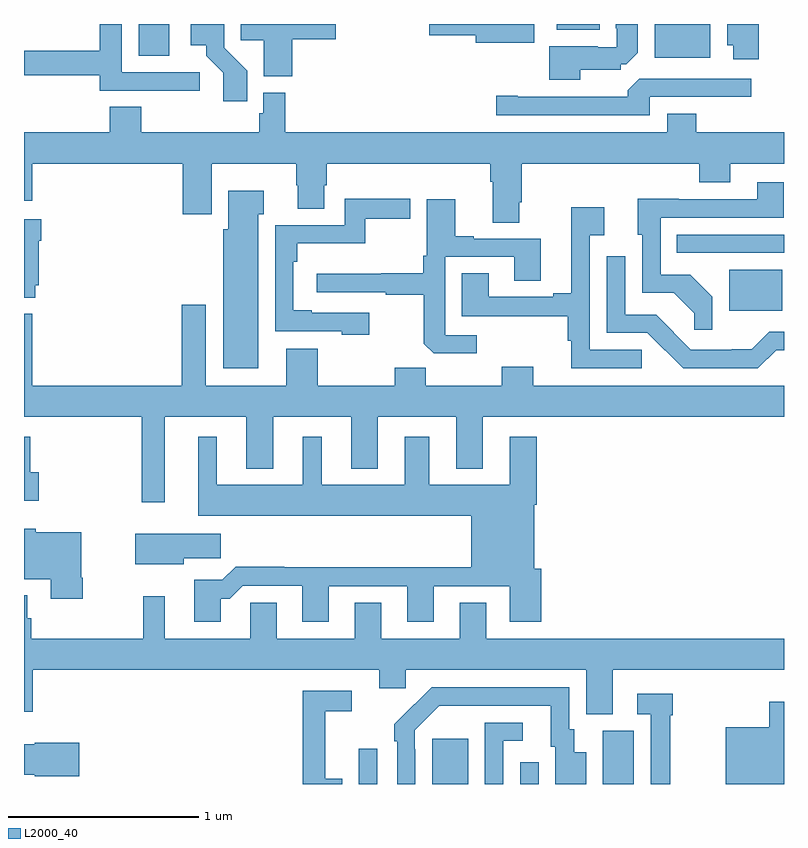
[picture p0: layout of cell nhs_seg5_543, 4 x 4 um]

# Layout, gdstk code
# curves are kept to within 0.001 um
import gdstk
lib = gdstk.Library(unit=1e-6, precision=1e-09)
def R(c, l, rs):  # rectangles x0, y0, x1, y1
    for r in rs: c.add(gdstk.rectangle(r[:2], r[2:], *l))
def P(c, l, *ps):  # polygons
    for p in ps: c.add(gdstk.Polygon(p, *l))
L2000_40 = (2000, 40)

nhs_seg5_543 = lib.new_cell('nhs_seg5_543')
R(nhs_seg5_543, L2000_40, [(146.763,882.799,146.859,882.985), (147.149,882.799,147.337,883.036), (147.612,882.799,147.708,882.913), (148.046,882.799,148.21,883.08), (148.712,885.29,148.99,885.505), (148.435,885.594,149,885.69), (148.319,886.622,148.612,886.799), (145.604,886.632,145.765,886.799), (147.803,886.769,148.03,886.799)])
P(nhs_seg5_543, L2000_40, [(147.928,886.559),(148.14,886.559),(148.14,886.587),(148.171,886.587),(148.231,886.647),(148.231,886.799),(148.115,886.799),(148.115,886.777),(148.119,886.777),(148.119,886.677),(148.019,886.677),(148.019,886.681),(147.764,886.681),(147.764,886.505),(147.928,886.505)],
  [(148.868,886.799),(148.7,886.799),(148.7,886.688),(148.733,886.688),(148.733,886.614),(148.868,886.614)],
  [(147.685,886.799),(147.132,886.799),(147.132,886.739),(147.377,886.739),(147.377,886.7),(147.685,886.7)],
  [(145.924,886.545),(145.515,886.545),(145.515,886.799),(145.399,886.799),(145.399,886.658),(145,886.658),(145,886.53),(145.399,886.53),(145.399,886.449),(145.699,886.449),(145.699,886.447),(145.924,886.447)],
  [(146.174,886.554),(146.055,886.673),(146.055,886.799),(145.878,886.799),(145.878,886.688),(145.958,886.688),(145.958,886.633),(146.049,886.543),(146.049,886.392),(146.174,886.392)],
  [(146.411,886.718),(146.641,886.718),(146.641,886.799),(146.14,886.799),(146.14,886.714),(146.261,886.714),(146.261,886.523),(146.411,886.523)],
  [(148.293,886.416),(148.828,886.416),(148.828,886.512),(148.239,886.512),(148.178,886.45),(148.178,886.416),(147.598,886.416),(147.598,886.421),(147.486,886.421),(147.486,886.32),(148.293,886.32)],
  [(147.607,885.862),(147.62,885.862),(147.62,886.064),(148.553,886.064),(148.553,885.965),(148.717,885.965),(148.717,886.064),(149,886.064),(149,886.228),(148.538,886.228),(148.538,886.327),(148.385,886.327),(148.385,886.228),(146.375,886.228),(146.375,886.438),(146.259,886.438),(146.259,886.329),(146.239,886.329),(146.239,886.228),(145.616,886.228),(145.616,886.364),(145.451,886.364),(145.451,886.228),(145,886.228),(145,885.87),(145.043,885.87),(145.043,886.064),(145.835,886.064),(145.835,885.798),(145.987,885.798),(145.987,886.064),(146.434,886.064),(146.434,885.951),(146.441,885.951),(146.441,885.826),(146.581,885.826),(146.581,885.951),(146.594,885.951),(146.594,886.064),(147.455,886.064),(147.455,885.968),(147.467,885.968),(147.467,885.754),(147.607,885.754)],
  [(148.623,885.364),(148.507,885.48),(148.35,885.48),(148.35,885.78),(148.999,885.78),(148.999,885.967),(148.859,885.967),(148.859,885.876),(148.447,885.876),(148.447,885.878),(148.229,885.878),(148.229,885.69),(148.254,885.69),(148.254,885.384),(148.42,885.384),(148.528,885.276),(148.528,885.189),(148.623,885.189)],
  [(146.233,885.797),(146.263,885.797),(146.263,885.922),(146.075,885.922),(146.075,885.72),(146.048,885.72),(146.048,884.987),(146.233,884.987)],
  [(146.818,885.279),(146.515,885.279),(146.515,885.292),(146.418,885.292),(146.418,885.548),(146.438,885.548),(146.438,885.644),(146.797,885.644),(146.797,885.775),(147.034,885.775),(147.034,885.878),(146.688,885.878),(146.688,885.741),(146.322,885.741),(146.322,885.183),(146.673,885.183),(146.673,885.164),(146.818,885.164)],
  [(147.382,885.162),(147.216,885.162),(147.216,885.573),(147.581,885.573),(147.581,885.448),(147.721,885.448),(147.721,885.669),(147.367,885.669),(147.367,885.682),(147.271,885.682),(147.271,885.877),(147.12,885.877),(147.12,885.58),(147.1,885.58),(147.1,885.488),(146.881,885.488),(146.881,885.484),(146.541,885.484),(146.541,885.387),(146.905,885.387),(146.905,885.375),(147.105,885.375),(147.105,885.117),(147.157,885.066),(147.382,885.066)],
  [(148.251,885.084),(147.978,885.084),(147.978,885.686),(148.054,885.686),(148.054,885.835),(147.881,885.835),(147.881,885.383),(147.785,885.383),(147.785,885.363),(147.445,885.363),(147.445,885.488),(147.305,885.488),(147.305,885.262),(147.862,885.262),(147.862,885.131),(147.881,885.131),(147.881,884.988),(148.251,884.988)],
  [(145.06,885.423),(145.078,885.423),(145.078,885.659),(145.091,885.659),(145.091,885.772),(145,885.772),(145,885.359),(145.06,885.359)],
  [(148.958,885.083),(149,885.083),(149,885.18),(148.923,885.18),(148.829,885.086),(148.724,885.086),(148.724,885.084),(148.509,885.084),(148.419,885.174),(148.421,885.176),(148.327,885.27),(148.164,885.27),(148.164,885.577),(148.068,885.577),(148.068,885.174),(148.281,885.174),(148.469,884.988),(148.863,884.988)],
  [(145.741,884.732),(146.171,884.732),(146.171,884.459),(146.311,884.459),(146.311,884.732),(146.723,884.732),(146.723,884.459),(146.863,884.459),(146.863,884.732),(147.275,884.732),(147.275,884.459),(147.415,884.459),(147.415,884.732),(149,884.732),(149,884.896),(147.679,884.896),(147.679,884.995),(147.515,884.995),(147.515,884.896),(147.115,884.896),(147.115,884.989),(146.951,884.989),(146.951,884.896),(146.545,884.896),(146.545,885.091),(146.381,885.091),(146.381,884.896),(145.957,884.896),(145.957,885.322),(145.829,885.322),(145.829,884.896),(145.043,884.896),(145.043,885.274),(145,885.274),(145,884.732),(145.62,884.732),(145.62,884.283),(145.741,884.283)],
  [(146.035,883.775),(146.084,883.775),(146.151,883.842),(146.465,883.842),(146.465,883.653),(146.605,883.653),(146.605,883.839),(147.017,883.839),(147.017,883.653),(147.157,883.653),(147.157,883.839),(147.557,883.839),(147.557,883.653),(147.722,883.653),(147.722,883.932),(147.685,883.932),(147.685,884.27),(147.698,884.27),(147.698,884.626),(147.557,884.626),(147.557,884.374),(147.133,884.374),(147.133,884.626),(147.005,884.626),(147.005,884.374),(146.566,884.374),(146.566,884.626),(146.468,884.626),(146.468,884.374),(146.014,884.374),(146.014,884.626),(145.916,884.626),(145.916,884.21),(147.353,884.21),(147.353,883.94),(146.369,883.94),(146.369,883.943),(146.114,883.943),(146.044,883.873),(145.895,883.873),(145.895,883.653),(146.035,883.653)],
  [(145.078,884.439),(145.034,884.439),(145.034,884.626),(145,884.626),(145,884.291),(145.078,884.291)],
  [(145.308,883.885),(145.3,883.885),(145.3,884.125),(145.062,884.125),(145.062,884.143),(145,884.143),(145,883.877),(145.142,883.877),(145.142,883.773),(145.308,883.773)],
  [(145.84,883.987),(146.035,883.987),(146.035,884.116),(145.586,884.116),(145.586,883.955),(145.84,883.955)],
  [(148.099,883.4),(149,883.4),(149,883.564),(147.433,883.564),(147.433,883.754),(147.293,883.754),(147.293,883.564),(146.881,883.564),(146.881,883.754),(146.741,883.754),(146.741,883.564),(146.329,883.564),(146.329,883.754),(146.19,883.754),(146.19,883.564),(145.741,883.564),(145.741,883.786),(145.627,883.786),(145.627,883.564),(145.037,883.564),(145.037,883.671),(145.017,883.671),(145.017,883.792),(145,883.792),(145,883.179),(145.045,883.179),(145.045,883.4),(146.87,883.4),(146.87,883.302),(147.009,883.302),(147.009,883.4),(147.959,883.4),(147.959,883.165),(148.099,883.165)],
  [(147.06,882.983),(147.057,882.983),(147.057,883.083),(147.186,883.212),(147.773,883.212),(147.773,882.996),(147.797,882.996),(147.797,882.799),(147.958,882.799),(147.958,882.967),(147.895,882.967),(147.895,883.086),(147.87,883.086),(147.87,883.308),(147.146,883.308),(146.949,883.113),(146.949,883.025),(146.964,883.025),(146.964,882.799),(147.06,882.799)],
  [(146.674,882.826),(146.585,882.826),(146.585,883.182),(146.725,883.182),(146.725,883.29),(146.467,883.29),(146.467,882.799),(146.674,882.799)],
  [(148.4,883.16),(148.415,883.16),(148.415,883.273),(148.227,883.273),(148.227,883.167),(148.299,883.167),(148.299,882.799),(148.4,882.799)],
  [(149,883.231),(148.922,883.231),(148.922,883.099),(148.694,883.099),(148.694,882.799),(149,882.799)],
  [(147.522,883.026),(147.625,883.026),(147.625,883.122),(147.426,883.122),(147.426,882.799),(147.522,882.799)],
  [(145.291,883.017),(145.056,883.017),(145.056,883.009),(145,883.009),(145,882.848),(145.056,882.848),(145.056,882.839),(145.291,882.839)])

lib.write_gds('nhs_seg5_543.gds')
